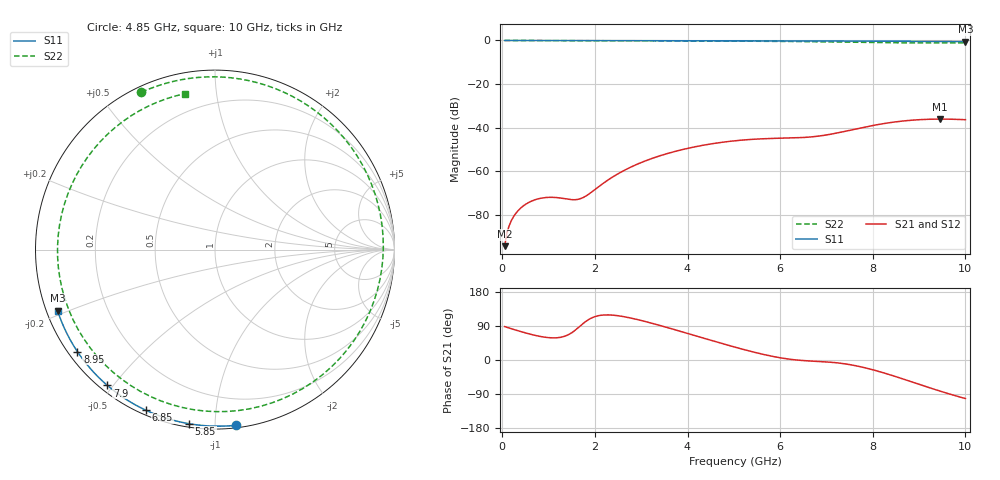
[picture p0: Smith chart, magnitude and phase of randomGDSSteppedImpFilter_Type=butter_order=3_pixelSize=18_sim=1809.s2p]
! freq	dB(S11)	phase(S11)	dB(S12)	phase(S12)
!  dB(S21)	phase(S21)	dB(S22)	phase(S22)
!S-par simulation data
#  GHz  S  DB  R 50
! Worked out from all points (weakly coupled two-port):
!   200 points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, 50 MHz to 10 GHz, reference 50 ohm
!   highest |S21| = -36.08 dB at 9.45 GHz (marker M1); lowest = -94.4 dB at 50 MHz (marker M2)
!   lowest |S11| = -0.5 dB at 10 GHz (marker M3), VSWR 32.75, Z = 1.58 - j9.37 ohm
!   |S11| at or under -10 dB: nowhere
!   |S22| runs from -1.1 to 0.0 dB; largest |S21 - S12| = 0
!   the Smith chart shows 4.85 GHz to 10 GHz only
!   S11 on the Smith chart (normalised r, x): 4.85 GHz: 0.02, -1.13; 5.85 GHz: 0.02, -0.86; 6.85 GHz: 0.02, -0.66; 7.9 GHz: 0.02, -0.48; 8.95 GHz: 0.03, -0.33; 10 GHz: 0.03, -0.19
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0.05  -0.00 -0.9  -94.39 88.2  -94.39 88.2  -0.00 -3.0
0.25  -0.01 -4.6  -80.61 80.5  -80.61 80.5  -0.02 -14.9
0.55  -0.01 -10.0  -74.58 69.9  -74.58 69.9  -0.04 -32.6
0.95  -0.02 -17.3  -72.05 59.6  -72.05 59.6  -0.07 -55.4
1.75  -0.04 -31.6  -72.03 96.7  -72.03 96.7  -0.11 -98.1
2.6  -0.06 -46.4  -59.98 114.9  -59.98 114.9  -0.15 -139.0
3.4  -0.08 -59.9  -52.95 91.3  -52.95 91.3  -0.18 -175.4
4.1  -0.10 -71.4  -49.06 66.6  -49.06 66.6  -0.23 152.4
4.85  -0.13 -83.2  -46.44 39.9  -46.44 39.9  -0.28 115.1
5.05  -0.13 -86.3  -45.97 33.1  -45.97 33.1  -0.30 104.4
5.45  -0.15 -92.5  -45.30 20.2  -45.30 20.2  -0.35 81.6
5.85  -0.17 -98.5  -44.94 9.2  -44.94 9.2  -0.40 56.8
6.3  -0.19 -105.2  -44.71 0.7  -44.71 0.7  -0.48 26.4
6.7  -0.22 -111.1  -44.20 -3.0  -44.20 -3.0  -0.57 -2.8
6.85  -0.23 -113.3  -43.83 -4.0  -43.83 -4.0  -0.61 -14.2
7.4  -0.27 -121.2  -41.69 -10.2  -41.69 -10.2  -0.76 -57.4
7.9  -0.31 -128.4  -39.43 -22.6  -39.43 -22.6  -0.92 -97.6
8.35  -0.35 -134.8  -37.77 -38.2  -37.77 -38.2  -1.04 -133.9
8.65  -0.38 -139.1  -36.96 -49.9  -36.96 -49.9  -1.10 -157.8
8.95  -0.41 -143.4  -36.42 -62.1  -36.42 -62.1  -1.14 178.6
9.45  -0.46 -150.7  -36.08 -82.0  -36.08 -82.0  -1.14 140.5
10  -0.53 -158.8  -36.35 -101.7  -36.35 -101.7  -1.06 100.9
